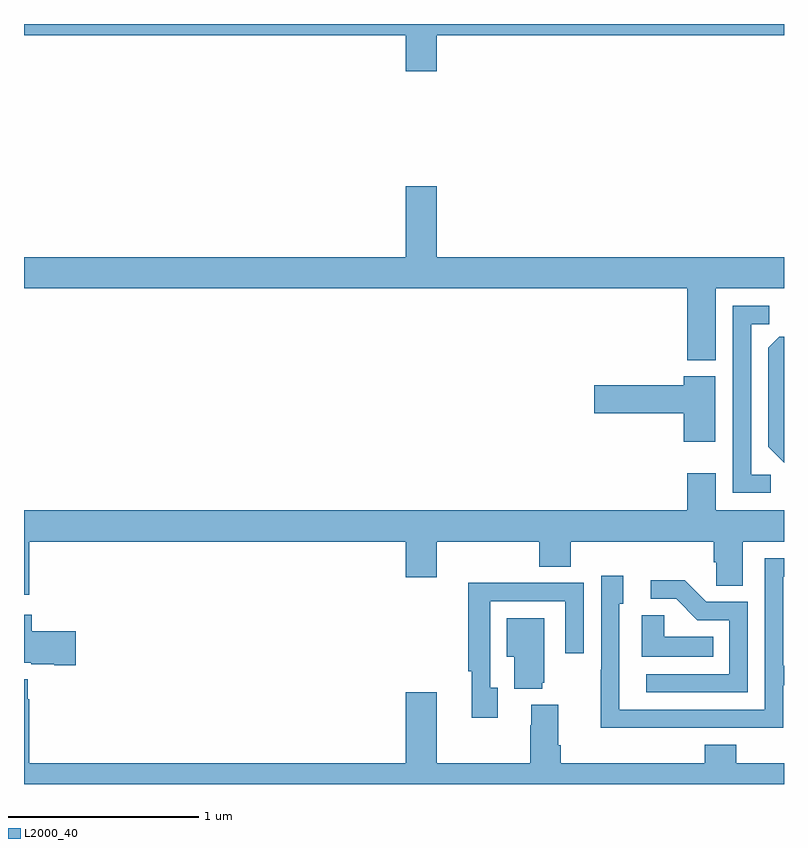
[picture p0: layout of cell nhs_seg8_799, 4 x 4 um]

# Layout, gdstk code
import gdstk
lib = gdstk.Library(unit=1e-6, precision=1e-09)
def P(c, l, *ps):  # polygons
    for p in ps: c.add(gdstk.Polygon(p, *l))
L2000_40 = (2000, 40)

nhs_seg8_799 = lib.new_cell('nhs_seg8_799')
P(nhs_seg8_799, L2000_40, [(165.172,1109.84),(167,1109.84),(167,1109.9),(163,1109.9),(163,1109.84),(165.008,1109.84),(165.008,1109.652),(165.172,1109.652)],
  [(166.642,1108.508),(167,1108.508),(167,1108.672),(165.172,1108.672),(165.172,1109.047),(165.008,1109.047),(165.008,1108.672),(163,1108.672),(163,1108.508),(166.49,1108.508),(166.49,1108.13),(166.642,1108.13)],
  [(166.93,1107.528),(166.827,1107.528),(166.827,1108.321),(166.923,1108.321),(166.923,1108.416),(166.731,1108.416),(166.731,1107.432),(166.93,1107.432)],
  [(167,1108.255),(166.976,1108.255),(166.917,1108.196),(166.917,1107.674),(167,1107.59)],
  [(166.639,1108.045),(166.472,1108.045),(166.472,1107.998),(166.002,1107.998),(166.002,1107.851),(166.472,1107.851),(166.472,1107.702),(166.639,1107.702)],
  [(163.027,1107.176),(165.008,1107.176),(165.008,1106.988),(165.172,1106.988),(165.172,1107.176),(165.713,1107.176),(165.713,1107.043),(165.878,1107.043),(165.878,1107.176),(166.631,1107.176),(166.631,1107.067),(166.644,1107.067),(166.644,1106.944),(166.783,1106.944),(166.783,1107.176),(167,1107.176),(167,1107.34),(166.642,1107.34),(166.642,1107.535),(166.49,1107.535),(166.49,1107.34),(163,1107.34),(163,1106.895),(163.027,1106.895)],
  [(166.499,1106.196),(166.995,1106.196),(166.995,1106.421),(167,1106.421),(167,1106.522),(166.995,1106.522),(166.995,1106.991),(167,1106.991),(167,1107.087),(166.899,1107.087),(166.899,1106.292),(166.134,1106.292),(166.134,1106.85),(166.153,1106.85),(166.153,1106.995),(166.038,1106.995),(166.038,1106.501),(166.036,1106.501),(166.036,1106.195),(166.499,1106.195)],
  [(166.809,1106.859),(166.59,1106.859),(166.477,1106.972),(166.299,1106.972),(166.299,1106.874),(166.433,1106.874),(166.544,1106.763),(166.713,1106.763),(166.713,1106.478),(166.275,1106.478),(166.275,1106.382),(166.809,1106.382)],
  [(165.493,1106.406),(165.453,1106.406),(165.453,1106.862),(165.849,1106.862),(165.849,1106.589),(165.945,1106.589),(165.945,1106.958),(165.629,1106.958),(165.629,1106.96),(165.337,1106.96),(165.337,1106.494),(165.356,1106.494),(165.356,1106.25),(165.493,1106.25)],
  [(163.273,1106.703),(163.042,1106.703),(163.042,1106.791),(163,1106.791),(163,1106.537),(163.038,1106.537),(163.038,1106.531),(163.16,1106.531),(163.16,1106.525),(163.273,1106.525)],
  [(166.628,1106.674),(166.371,1106.674),(166.371,1106.789),(166.25,1106.789),(166.25,1106.57),(166.628,1106.57)],
  [(165.728,1106.433),(165.739,1106.433),(165.739,1106.773),(165.542,1106.773),(165.542,1106.57),(165.581,1106.57),(165.581,1106.402),(165.728,1106.402)],
  [(167,1106.008),(166.748,1106.008),(166.748,1106.107),(166.583,1106.107),(166.583,1106.008),(165.824,1106.008),(165.824,1106.104),(165.811,1106.104),(165.811,1106.317),(165.671,1106.317),(165.671,1106.21),(165.664,1106.21),(165.664,1106.008),(165.172,1106.008),(165.172,1106.383),(165.008,1106.383),(165.008,1106.008),(163.027,1106.008),(163.027,1106.345),(163.019,1106.345),(163.019,1106.452),(163,1106.452),(163,1105.9),(167,1105.9)])

lib.write_gds('nhs_seg8_799.gds')
